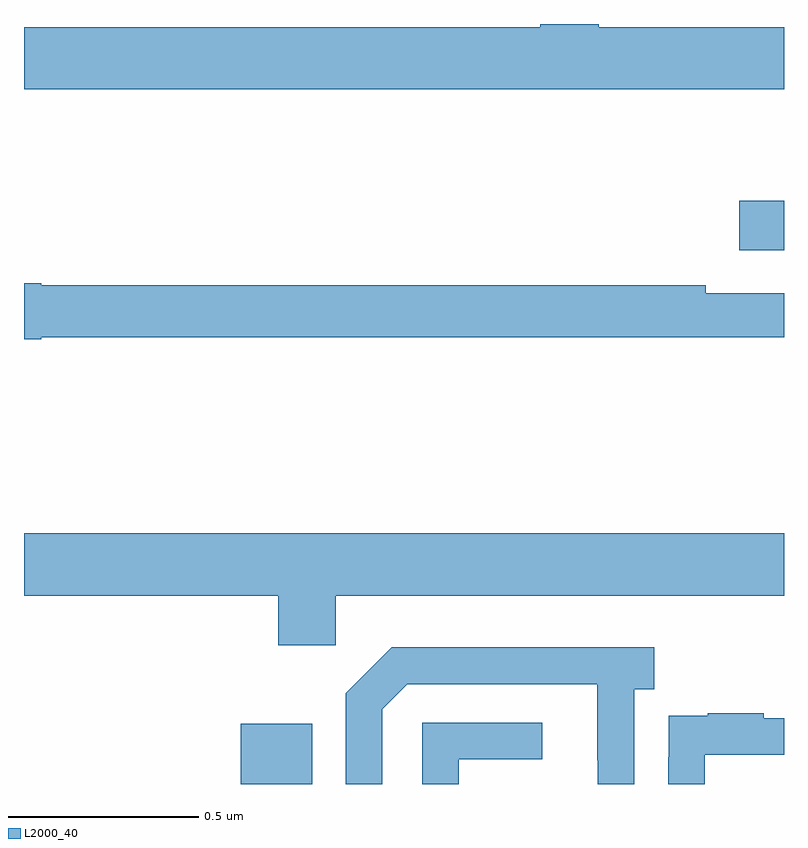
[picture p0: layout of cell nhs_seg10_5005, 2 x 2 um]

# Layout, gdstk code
import gdstk
lib = gdstk.Library(unit=1e-6, precision=1e-09)
def R(c, l, rs):  # rectangles x0, y0, x1, y1
    for r in rs: c.add(gdstk.rectangle(r[:2], r[2:], *l))
def P(c, l, *ps):  # polygons
    for p in ps: c.add(gdstk.Polygon(p, *l))
L2000_40 = (2000, 40)

nhs_seg10_5005 = lib.new_cell('nhs_seg10_5005')
R(nhs_seg10_5005, L2000_40, [(173.57,1286.5,173.758,1286.659), (174.882,1287.905,175,1288.035)])
P(nhs_seg10_5005, L2000_40, [(175,1288.492),(174.512,1288.492),(174.512,1288.5),(174.359,1288.5),(174.359,1288.492),(173,1288.492),(173,1288.328),(175,1288.328)],
  [(173.046,1287.676),(175,1287.676),(175,1287.792),(174.794,1287.792),(174.794,1287.812),(173.046,1287.812),(173.046,1287.818),(173,1287.818),(173,1287.671),(173.046,1287.671)],
  [(173.82,1286.996),(175,1286.996),(175,1287.16),(173,1287.16),(173,1286.996),(173.669,1286.996),(173.669,1286.865),(173.82,1286.865)],
  [(173.943,1286.697),(174.009,1286.763),(174.509,1286.763),(174.509,1286.563),(174.51,1286.563),(174.51,1286.5),(174.606,1286.5),(174.606,1286.75),(174.658,1286.75),(174.658,1286.86),(173.968,1286.86),(173.847,1286.739),(173.847,1286.5),(173.943,1286.5)],
  [(174.792,1286.577),(175,1286.577),(175,1286.673),(174.947,1286.673),(174.947,1286.686),(174.799,1286.686),(174.799,1286.679),(174.697,1286.679),(174.697,1286.57),(174.696,1286.57),(174.696,1286.5),(174.792,1286.5)],
  [(174.144,1286.565),(174.364,1286.565),(174.364,1286.661),(174.048,1286.661),(174.048,1286.5),(174.144,1286.5)])

lib.write_gds('nhs_seg10_5005.gds')
